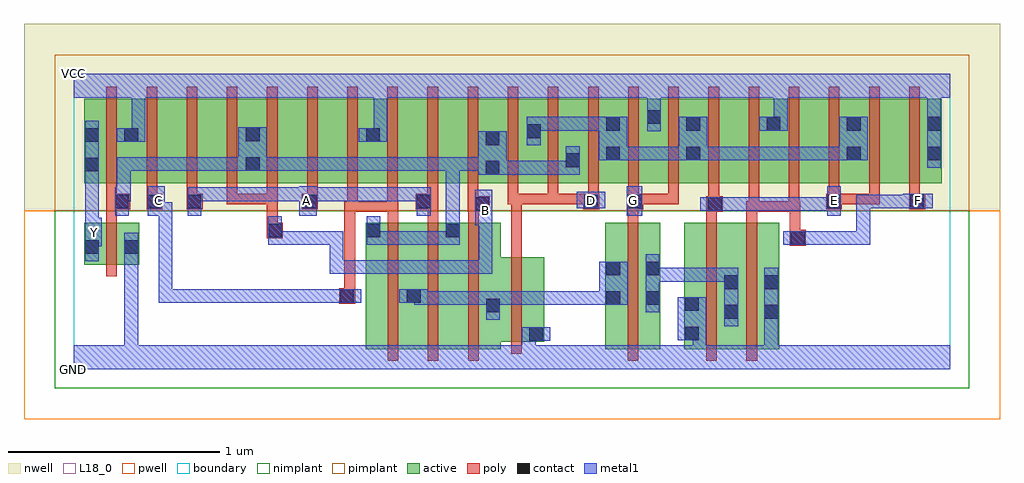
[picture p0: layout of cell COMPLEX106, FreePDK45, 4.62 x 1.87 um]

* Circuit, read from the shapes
.subckt COMPLEX106 A B C D E F G GND VCC Y
M1 GND n1 Y VSUBS nfet w=0.2u l=0.05u
M2 n2 C n1 VSUBS nfet w=0.6u l=0.05u
M3 n1 A n2 VSUBS nfet w=0.6u l=0.05u
M4 n2 B n1 VSUBS nfet w=0.6u l=0.05u
M5 GND D n2 VSUBS nfet w=0.4u l=0.05u
M6 n3 G n2 VSUBS nfet w=0.6u l=0.05u
M7 n3 E GND VSUBS nfet w=0.6u l=0.05u
M8 GND F n3 VSUBS nfet w=0.6u l=0.05u
M9 VCC n1 Y n4 pfet w=0.4u l=0.05u
M10 n5 C VCC n4 pfet w=0.4u l=0.05u
M11 n6 A n5 n4 pfet w=0.4u l=0.05u
M12 n1 B n6 n4 pfet w=0.4u l=0.05u
M13 n7 B n1 n4 pfet w=0.4u l=0.05u
M14 n8 A n7 n4 pfet w=0.4u l=0.05u
M15 VCC C n8 n4 pfet w=0.4u l=0.05u
M16 n9 C VCC n4 pfet w=0.4u l=0.05u
M17 n10 A n9 n4 pfet w=0.4u l=0.05u
M18 n1 B n10 n4 pfet w=0.4u l=0.05u
M19 n11 D n1 n4 pfet w=0.4u l=0.05u m=3
M20 VCC G n11 n4 pfet w=0.4u l=0.05u m=2
M21 n12 E n11 n4 pfet w=0.4u l=0.05u
M22 VCC F n12 n4 pfet w=0.4u l=0.05u
M23 n13 F VCC n4 pfet w=0.4u l=0.05u
M24 n11 E n13 n4 pfet w=0.4u l=0.05u
M25 n14 E n11 n4 pfet w=0.4u l=0.05u
M26 VCC F n14 n4 pfet w=0.4u l=0.05u
.ends

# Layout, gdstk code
import gdstk
lib = gdstk.Library(unit=1e-6, precision=1e-09)
def R(c, l, rs):  # rectangles x0, y0, x1, y1
    for r in rs: c.add(gdstk.rectangle(r[:2], r[2:], *l))
def A(c, l, x, y, w, h, nx, ny, dx, dy):  # array of equal rectangles
    R(c, l, [(x+i*dx, y+j*dy, x+i*dx+w, y+j*dy+h) for i in range(nx) for j in range(ny)])
active = (1, 0)
pwell = (2, 0)
nwell = (3, 0)
nimplant = (4, 0)
pimplant = (5, 0)
poly = (9, 0)
contact = (10, 0)
metal1 = (11, 0)
L18_0 = (18, 0)
boundary = (235, 0)

complex106 = lib.new_cell('COMPLEX106')
A(complex106, active, 0.465, 0.882, 0.19, 0.4, 3, 1, 0.57, 0)
A(complex106, active, 2.895, 0.882, 0.23, 0.4, 3, 1, 0.38, 0)
A(complex106, active, 3.125, 0.882, 0.225, 0.4, 3, 1, 0.38, 0)
R(complex106, active, [(1.382,0.095,1.457,0.695), (1.382,0.095,1.647,0.695), (1.572,0.095,1.832,0.695), (1.572,0.095,1.647,0.657), (1.757,0.095,1.832,0.695), (1.757,0.095,2.022,0.695), (2.517,0.095,2.592,0.695), (2.517,0.095,2.777,0.695), (2.702,0.095,2.777,0.695), (2.89,0.095,2.965,0.695), (2.89,0.095,3.15,0.695), (3.075,0.095,3.34,0.695), (3.075,0.095,3.15,0.692), (3.265,0.095,3.34,0.695), (1.947,0.13,2.227,0.53), (2.152,0.13,2.227,0.53), (1.947,0.2,2.022,0.53), (0.05,0.495,0.125,0.695), (0.05,0.495,0.31,0.695), (0.235,0.495,0.31,0.695), (0.05,0.882,0.125,1.2), (0.05,0.882,0.31,1.282), (0.235,0.882,0.31,1.282), (0.235,0.882,0.465,1.282), (0.655,0.882,0.885,1.282), (0.81,0.882,1.035,1.282), (0.81,0.882,0.885,1.2), (1.225,0.882,1.455,1.282), (1.38,0.882,1.455,1.282), (1.38,0.882,1.605,1.282), (1.795,0.882,2.02,1.282), (1.945,0.882,2.02,1.2), (1.945,0.882,2.215,1.282), (2.14,0.882,2.215,1.2), (2.14,0.882,2.4,1.282), (2.325,0.882,2.59,1.282), (2.325,0.882,2.4,1.07), (2.515,0.882,2.59,1.2), (2.515,0.882,2.785,1.282), (2.71,0.882,2.97,1.282), (2.895,0.882,2.97,1.2), (3.275,0.882,3.35,1.282), (3.655,0.882,3.73,1.2), (4.035,0.882,4.11,1.282), (2.71,0.907,2.785,1.282)])
R(complex106, pwell, [(-0.235,-0.235,4.385,0.75)])
R(complex106, nwell, [(-0.235,0.75,4.385,1.635)])
R(complex106, nimplant, [(-0.09,-0.09,4.24,0.75)])
R(complex106, pimplant, [(-0.09,0.75,4.24,1.49)])
A(complex106, poly, 1.487, 0.04, 0.05, 0.71, 3, 1, 0.19, 0)
A(complex106, poly, 0.155, 0.782, 0.05, 0.095, 6, 1, 0.19, 0)
A(complex106, poly, 2.055, 0.782, 0.05, 0.095, 5, 1, 0.19, 0)
A(complex106, poly, 3.575, 0.782, 0.05, 0.095, 3, 1, 0.19, 0)
A(complex106, poly, 0.155, 0.827, 0.05, 0.51, 21, 1, 0.19, 0)
R(complex106, poly, [(2.622,0.04,2.672,0.75), (2.995,0.04,3.045,0.75), (3.185,0.04,3.235,0.75), (2.072,0.075,2.122,0.585), (1.257,0.31,1.332,0.385), (1.282,0.335,1.332,0.795), (0.155,0.44,0.205,0.75), (2.072,0.535,2.122,0.832), (3.39,0.585,3.465,0.66), (3.39,0.61,3.44,0.66), (3.39,0.61,3.44,0.66), (3.39,0.61,3.44,0.795), (0.915,0.62,0.99,0.695), (0.915,0.645,0.965,0.832), (0.155,0.7,0.205,0.807), (1.487,0.7,1.537,0.795), (1.677,0.7,1.727,0.807), (1.867,0.7,1.917,0.795), (2.622,0.7,2.672,0.807), (2.995,0.7,3.045,0.795), (3.185,0.7,3.235,0.795), (1.282,0.745,1.332,0.795), (1.282,0.745,1.332,0.795), (1.282,0.745,1.332,0.795), (1.282,0.745,1.332,0.795), (1.282,0.745,1.345,0.795), (1.295,0.745,1.345,0.795), (1.295,0.745,1.345,0.795), (1.295,0.745,1.345,0.877), (1.295,0.745,1.535,0.795), (1.485,0.745,1.535,0.877), (1.485,0.745,1.537,0.795), (1.865,0.745,1.97,0.82), (2.995,0.745,3.072,0.82), (3.185,0.745,3.245,0.795), (3.195,0.745,3.245,0.877), (3.195,0.745,3.435,0.795), (3.385,0.745,3.435,0.795), (3.385,0.745,3.435,0.795), (3.385,0.745,3.435,0.877), (3.385,0.745,3.44,0.795), (0.155,0.757,0.267,0.832), (0.345,0.757,0.42,0.832), (0.535,0.757,0.61,0.832), (1.08,0.757,1.155,0.832), (1.62,0.757,1.727,0.832), (2.412,0.757,2.487,0.832), (2.622,0.757,2.697,0.832), (3.562,0.757,3.637,0.832), (3.955,0.757,4.03,0.832), (1.865,0.77,1.915,0.877), (3.005,0.77,3.055,0.877), (0.725,0.782,0.775,0.832), (0.725,0.782,0.965,0.832), (0.915,0.782,0.965,0.832), (0.915,0.782,0.965,0.832), (0.915,0.782,0.965,0.832), (0.915,0.782,0.965,0.832), (0.915,0.782,0.965,0.832), (1.675,0.782,1.725,0.877), (2.055,0.782,2.122,0.832), (2.072,0.782,2.122,0.832), (2.072,0.782,2.122,0.832), (2.072,0.782,2.295,0.832), (2.245,0.782,2.295,0.832), (2.245,0.782,2.462,0.832), (2.412,0.782,2.462,0.832), (2.412,0.782,2.462,0.832), (2.647,0.782,2.865,0.832), (2.815,0.782,2.865,0.832), (2.815,0.782,2.865,0.832), (2.815,0.782,2.865,0.832), (3.587,0.782,3.815,0.832), (3.587,0.782,3.637,0.832), (3.587,0.782,3.637,0.832), (3.765,0.782,3.815,0.832)])
A(complex106, contact, 2.52, 1.13, 0.065, 0.065, 5, 1, 0.38, 0)
R(complex106, contact, [(2.157,0.135,2.222,0.2), (2.895,0.137,2.96,0.202), (3.08,0.24,3.145,0.305), (3.27,0.24,3.335,0.305), (1.952,0.27,2.017,0.335), (2.895,0.277,2.96,0.342), (2.522,0.305,2.587,0.37), (2.707,0.305,2.772,0.37), (1.262,0.315,1.327,0.38), (1.577,0.315,1.642,0.38), (3.08,0.38,3.145,0.445), (3.27,0.38,3.335,0.445), (2.522,0.445,2.587,0.51), (2.707,0.445,2.772,0.51), (0.055,0.547,0.12,0.612), (0.24,0.547,0.305,0.612), (3.395,0.59,3.46,0.655), (0.92,0.625,0.985,0.69), (1.387,0.625,1.452,0.69), (1.762,0.625,1.827,0.69), (1.9,0.75,1.965,0.815), (3.002,0.75,3.067,0.815), (0.197,0.762,0.262,0.827), (0.35,0.762,0.415,0.827), (0.54,0.762,0.605,0.827), (1.085,0.762,1.15,0.827), (1.625,0.762,1.69,0.827), (2.417,0.762,2.482,0.827), (2.627,0.762,2.692,0.827), (3.567,0.762,3.632,0.827), (3.96,0.762,4.025,0.827), (1.95,0.922,2.015,0.987), (0.055,0.937,0.12,1.002), (0.815,0.94,0.88,1.005), (2.33,0.957,2.395,1.022), (2.52,0.99,2.585,1.055), (2.9,0.99,2.965,1.055), (3.66,0.99,3.725,1.055), (4.04,0.99,4.105,1.055), (1.95,1.062,2.015,1.127), (0.055,1.077,0.12,1.142), (0.24,1.077,0.305,1.142), (1.385,1.077,1.45,1.142), (0.815,1.08,0.88,1.145), (2.145,1.095,2.21,1.16), (2.715,1.162,2.78,1.227)])
R(complex106, metal1, [(0,0,4.15,0.115), (0.24,0.05,0.305,0.115), (0.24,0.05,0.305,0.115), (0.24,0.05,0.305,0.577), (2.122,0.05,2.187,0.115), (2.122,0.05,2.187,0.115), (2.122,0.05,2.187,0.2), (2.93,0.05,2.995,0.202), (3.27,0.05,3.335,0.27), (2.122,0.135,2.257,0.2), (2.86,0.137,2.995,0.342), (3.08,0.205,3.145,0.48), (3.27,0.205,3.335,0.48), (1.952,0.235,2.017,0.37), (2.707,0.27,2.772,0.545), (1.612,0.305,1.827,0.37), (1.612,0.305,1.677,0.38), (1.762,0.305,1.827,0.37), (1.762,0.305,1.827,0.37), (1.762,0.305,1.827,0.37), (1.762,0.305,2.017,0.37), (1.952,0.305,2.12,0.37), (2.055,0.305,2.12,0.37), (2.055,0.305,2.257,0.37), (2.192,0.305,2.257,0.37), (2.192,0.305,2.257,0.37), (2.192,0.305,2.257,0.37), (2.192,0.305,2.257,0.37), (2.192,0.305,2.257,0.37), (2.192,0.305,2.257,0.37), (2.192,0.305,2.257,0.37), (2.192,0.305,2.412,0.37), (2.347,0.305,2.412,0.37), (2.347,0.305,2.412,0.37), (2.347,0.305,2.412,0.37), (2.347,0.305,2.552,0.37), (2.487,0.305,2.622,0.51), (0.402,0.315,0.467,0.38), (0.402,0.315,0.707,0.38), (0.402,0.315,0.467,0.792), (0.642,0.315,0.707,0.38), (0.642,0.315,0.707,0.38), (0.642,0.315,0.707,0.38), (0.642,0.315,0.845,0.38), (0.78,0.315,0.845,0.38), (0.78,0.315,0.845,0.38), (0.78,0.315,0.845,0.38), (0.78,0.315,0.845,0.38), (0.78,0.315,0.845,0.38), (0.78,0.315,0.845,0.38), (0.78,0.315,0.845,0.38), (0.78,0.315,0.982,0.38), (0.917,0.315,0.982,0.38), (0.917,0.315,1.132,0.38), (1.067,0.315,1.132,0.38), (1.067,0.315,1.132,0.38), (1.067,0.315,1.132,0.38), (1.067,0.315,1.27,0.38), (1.205,0.315,1.27,0.38), (1.205,0.315,1.292,0.38), (1.227,0.315,1.362,0.38), (1.542,0.315,1.677,0.38), (1.612,0.315,1.677,0.38), (2.707,0.415,2.895,0.48), (2.83,0.415,2.895,0.48), (2.83,0.415,3,0.48), (2.935,0.415,3,0.48), (2.935,0.415,3.145,0.48), (3.08,0.415,3.145,0.48), (3.08,0.415,3.145,0.48), (1.212,0.452,1.287,0.517), (1.212,0.452,1.277,0.655), (1.222,0.452,1.287,0.517), (1.222,0.452,1.47,0.517), (1.405,0.452,1.47,0.517), (1.405,0.452,1.47,0.517), (1.405,0.452,1.47,0.517), (1.405,0.452,1.69,0.517), (1.625,0.452,1.69,0.517), (1.625,0.452,1.69,0.517), (1.625,0.452,1.69,0.517), (1.625,0.452,1.827,0.517), (1.762,0.452,1.827,0.517), (1.762,0.452,1.927,0.517), (1.862,0.452,1.982,0.517), (1.862,0.452,1.927,0.517), (1.917,0.452,1.982,0.517), (1.917,0.452,1.982,0.517), (1.917,0.452,1.982,0.517), (1.917,0.452,1.982,0.747), (0.055,0.512,0.12,0.647), (0.24,0.512,0.305,0.577), (0.24,0.512,0.305,0.577), (0.24,0.512,0.305,0.577), (0.24,0.512,0.305,0.577), (0.24,0.512,0.305,0.647), (0.055,0.582,0.12,0.647), (0.055,0.582,0.132,0.717), (0.92,0.59,1.122,0.655), (0.92,0.59,0.985,0.725), (1.057,0.59,1.122,0.655), (1.057,0.59,1.122,0.655), (1.057,0.59,1.122,0.655), (1.057,0.59,1.277,0.655), (1.387,0.59,1.452,0.655), (1.387,0.59,1.452,0.655), (1.387,0.59,1.452,0.725), (1.387,0.59,1.69,0.655), (1.625,0.59,1.69,0.655), (1.625,0.59,1.69,0.655), (1.625,0.59,1.69,0.655), (1.625,0.59,1.827,0.655), (1.762,0.59,1.827,0.725), (3.36,0.59,3.495,0.655), (3.43,0.59,3.495,0.655), (3.43,0.59,3.495,0.655), (3.43,0.59,3.495,0.655), (3.43,0.59,3.495,0.655), (3.43,0.59,3.715,0.655), (3.65,0.59,3.77,0.655), (3.65,0.59,3.715,0.655), (3.705,0.59,3.77,0.655), (3.705,0.59,3.77,0.827), (0.055,0.652,0.12,0.967), (1.762,0.66,1.827,1.005), (1.9,0.682,1.982,0.85), (1.917,0.682,1.982,0.747), (1.917,0.682,1.982,0.747), (0.197,0.727,0.262,0.862), (0.35,0.727,0.432,0.867), (0.367,0.727,0.467,0.792), (0.402,0.727,0.467,0.792), (0.54,0.727,0.605,0.862), (1.067,0.727,1.15,0.867), (1.625,0.727,1.69,0.862), (2.617,0.727,2.692,0.867), (3.567,0.727,3.632,0.867), (2.967,0.75,3.102,0.815), (3.037,0.75,3.145,0.815), (3.08,0.75,3.145,0.815), (3.08,0.75,3.282,0.815), (3.217,0.75,3.282,0.815), (3.217,0.75,3.282,0.815), (3.217,0.75,3.282,0.815), (3.217,0.75,3.495,0.815), (3.43,0.75,3.495,0.815), (3.43,0.75,3.495,0.815), (3.43,0.75,3.495,0.815), (3.43,0.75,3.632,0.815), (2.382,0.762,2.517,0.84), (3.705,0.762,3.77,0.827), (3.705,0.762,3.852,0.827), (3.787,0.762,3.907,0.827), (3.787,0.762,3.852,0.827), (3.842,0.762,3.99,0.827), (3.842,0.762,3.907,0.827), (3.925,0.762,4.067,0.832), (0.197,0.797,0.27,0.862), (0.205,0.797,0.27,0.862), (0.205,0.797,0.27,1.005), (0.54,0.797,0.707,0.862), (0.642,0.797,0.707,0.862), (0.642,0.797,0.845,0.862), (0.78,0.797,0.845,0.862), (0.78,0.797,0.845,0.862), (0.78,0.797,0.845,0.862), (0.78,0.797,0.982,0.862), (0.917,0.797,0.982,0.862), (0.917,0.797,1.132,0.862), (1.067,0.797,1.132,0.862), (1.067,0.797,1.132,0.862), (1.085,0.797,1.27,0.862), (1.205,0.797,1.27,0.862), (1.205,0.797,1.315,0.862), (1.25,0.797,1.315,0.862), (1.25,0.797,1.452,0.862), (1.387,0.797,1.452,0.862), (1.387,0.797,1.452,0.862), (1.387,0.797,1.452,0.862), (1.387,0.797,1.69,0.862), (1.625,0.797,1.69,0.862), (1.625,0.797,1.69,0.862), (0.055,0.902,0.12,1.177), (1.915,0.922,2.05,1.127), (1.985,0.922,2.12,0.987), (2.055,0.922,2.12,0.987), (2.055,0.922,2.257,0.987), (2.192,0.922,2.257,0.987), (2.192,0.922,2.257,0.987), (2.192,0.922,2.257,0.987), (2.192,0.922,2.395,0.987), (2.33,0.922,2.395,1.057), (0.205,0.94,0.27,1.005), (0.205,0.94,0.432,1.005), (0.367,0.94,0.432,1.005), (0.367,0.94,0.57,1.005), (0.505,0.94,0.57,1.005), (0.505,0.94,0.57,1.005), (0.505,0.94,0.57,1.005), (0.505,0.94,0.707,1.005), (0.642,0.94,0.707,1.005), (0.642,0.94,0.845,1.005), (0.78,0.94,0.845,1.005), (0.78,0.94,0.845,1.005), (0.78,0.94,0.915,1.145), (0.85,0.94,0.982,1.005), (0.917,0.94,0.982,1.005), (0.917,0.94,1.122,1.005), (1.057,0.94,1.122,1.005), (1.057,0.94,1.122,1.005), (1.057,0.94,1.122,1.005), (1.057,0.94,1.27,1.005), (1.205,0.94,1.27,1.005), (1.205,0.94,1.315,1.005), (1.25,0.94,1.315,1.005), (1.25,0.94,1.452,1.005), (1.387,0.94,1.452,1.005), (1.387,0.94,1.452,1.005), (1.387,0.94,1.452,1.005), (1.387,0.94,1.69,1.005), (1.625,0.94,1.69,1.005), (1.625,0.94,1.69,1.005), (1.625,0.94,1.69,1.005), (1.625,0.94,1.827,1.005), (1.762,0.94,1.827,1.005), (1.762,0.94,1.827,1.005), (1.762,0.94,1.827,1.005), (1.762,0.94,1.98,1.005), (1.915,0.94,1.98,1.005), (1.915,0.94,1.98,1.005), (4.04,0.955,4.105,1.23), (2.485,0.99,2.62,1.195), (2.555,0.99,2.62,1.055), (2.555,0.99,2.62,1.055), (2.555,0.99,2.757,1.055), (2.692,0.99,2.757,1.055), (2.692,0.99,2.757,1.055), (2.692,0.99,2.757,1.055), (2.692,0.99,2.895,1.055), (2.83,0.99,2.895,1.055), (2.83,0.99,2.93,1.055), (2.865,0.99,3,1.195), (2.935,0.99,3.137,1.055), (3.072,0.99,3.137,1.055), (3.072,0.99,3.137,1.055), (3.072,0.99,3.137,1.055), (3.072,0.99,3.282,1.055), (3.217,0.99,3.282,1.055), (3.217,0.99,3.282,1.055), (3.217,0.99,3.282,1.055), (3.217,0.99,3.42,1.055), (3.355,0.99,3.42,1.055), (3.355,0.99,3.42,1.055), (3.355,0.99,3.42,1.055), (3.355,0.99,3.69,1.055), (3.625,0.99,3.69,1.055), (3.625,0.99,3.69,1.055), (3.625,0.99,3.76,1.195), (2.145,1.06,2.21,1.195), (0.205,1.077,0.34,1.142), (0.275,1.077,0.34,1.35), (1.35,1.077,1.485,1.142), (1.42,1.077,1.485,1.35), (2.715,1.127,2.78,1.262), (2.145,1.13,2.257,1.195), (2.192,1.13,2.257,1.195), (2.192,1.13,2.395,1.195), (2.33,1.13,2.395,1.195), (2.33,1.13,2.395,1.195), (2.33,1.13,2.395,1.195), (2.33,1.13,2.55,1.195), (3.245,1.13,3.38,1.195), (3.315,1.13,3.38,1.35), (4.04,1.165,4.105,1.35), (2.715,1.197,2.78,1.35), (0,1.285,4.15,1.4)])
R(complex106, L18_0, [(0,0,4.15,0.115), (0.24,0.05,0.305,0.115), (0.24,0.05,0.305,0.115), (0.24,0.05,0.305,0.577), (2.122,0.05,2.187,0.115), (2.122,0.05,2.187,0.115), (2.122,0.05,2.187,0.2), (2.93,0.05,2.995,0.202), (3.27,0.05,3.335,0.27), (2.122,0.135,2.257,0.2), (2.86,0.137,2.995,0.342), (3.27,0.205,3.335,0.48), (0.402,0.315,0.467,0.38), (0.402,0.315,0.467,0.792), (0.402,0.315,0.707,0.38), (0.642,0.315,0.707,0.38), (0.642,0.315,0.707,0.38), (0.642,0.315,0.707,0.38), (0.642,0.315,0.845,0.38), (0.78,0.315,0.845,0.38), (0.78,0.315,0.845,0.38), (0.78,0.315,0.845,0.38), (0.78,0.315,0.845,0.38), (0.78,0.315,0.845,0.38), (0.78,0.315,0.845,0.38), (0.78,0.315,0.845,0.38), (0.78,0.315,0.982,0.38), (0.917,0.315,0.982,0.38), (0.917,0.315,1.132,0.38), (1.067,0.315,1.132,0.38), (1.067,0.315,1.132,0.38), (1.067,0.315,1.132,0.38), (1.067,0.315,1.27,0.38), (1.205,0.315,1.27,0.38), (1.205,0.315,1.292,0.38), (1.227,0.315,1.362,0.38), (1.212,0.452,1.277,0.655), (1.212,0.452,1.287,0.517), (1.222,0.452,1.287,0.517), (1.222,0.452,1.47,0.517), (1.405,0.452,1.47,0.517), (1.405,0.452,1.47,0.517), (1.405,0.452,1.47,0.517), (1.405,0.452,1.69,0.517), (1.625,0.452,1.69,0.517), (1.625,0.452,1.69,0.517), (1.625,0.452,1.69,0.517), (1.625,0.452,1.827,0.517), (1.762,0.452,1.827,0.517), (1.762,0.452,1.927,0.517), (1.862,0.452,1.927,0.517), (1.862,0.452,1.982,0.517), (1.917,0.452,1.982,0.517), (1.917,0.452,1.982,0.517), (1.917,0.452,1.982,0.517), (1.917,0.452,1.982,0.747), (0.055,0.512,0.12,0.647), (0.24,0.512,0.305,0.647), (0.24,0.512,0.305,0.577), (0.24,0.512,0.305,0.577), (0.24,0.512,0.305,0.577), (0.24,0.512,0.305,0.577), (0.055,0.582,0.132,0.717), (0.055,0.582,0.12,0.647), (0.92,0.59,0.985,0.725), (0.92,0.59,1.122,0.655), (1.057,0.59,1.122,0.655), (1.057,0.59,1.122,0.655), (1.057,0.59,1.122,0.655), (1.057,0.59,1.277,0.655), (3.36,0.59,3.495,0.655), (3.43,0.59,3.495,0.655), (3.43,0.59,3.495,0.655), (3.43,0.59,3.495,0.655), (3.43,0.59,3.495,0.655), (3.43,0.59,3.715,0.655), (3.65,0.59,3.715,0.655), (3.65,0.59,3.77,0.655), (3.705,0.59,3.77,0.655), (3.705,0.59,3.77,0.827), (0.067,0.617,0.132,0.682), (0.055,0.652,0.12,0.967), (1.9,0.682,1.982,0.85), (1.917,0.682,1.982,0.747), (1.917,0.682,1.982,0.747), (1.917,0.717,1.982,0.782), (0.35,0.727,0.432,0.867), (0.367,0.727,0.467,0.792), (0.402,0.727,0.467,0.792), (0.54,0.727,0.605,0.862), (1.067,0.727,1.15,0.867), (1.625,0.727,1.69,0.862), (2.617,0.727,2.692,0.867), (3.567,0.727,3.632,0.867), (2.967,0.75,3.102,0.815), (3.037,0.75,3.145,0.815), (3.08,0.75,3.145,0.815), (3.08,0.75,3.282,0.815), (3.217,0.75,3.282,0.815), (3.217,0.75,3.282,0.815), (3.217,0.75,3.282,0.815), (3.217,0.75,3.495,0.815), (3.43,0.75,3.495,0.815), (3.43,0.75,3.495,0.815), (3.43,0.75,3.495,0.815), (3.43,0.75,3.632,0.815), (2.382,0.762,2.517,0.84), (3.705,0.762,3.77,0.827), (3.705,0.762,3.852,0.827), (3.787,0.762,3.852,0.827), (3.787,0.762,3.907,0.827), (3.842,0.762,3.907,0.827), (3.842,0.762,3.99,0.827), (3.925,0.762,4.067,0.832), (0.367,0.767,0.432,0.832), (1.067,0.767,1.132,0.832), (2.417,0.767,2.482,0.832), (2.617,0.767,2.682,0.832), (3.567,0.767,3.632,0.832), (3.967,0.767,4.032,0.832), (0.54,0.797,0.707,0.862), (0.642,0.797,0.707,0.862), (0.642,0.797,0.845,0.862), (0.78,0.797,0.845,0.862), (0.78,0.797,0.845,0.862), (0.78,0.797,0.845,0.862), (0.78,0.797,0.982,0.862), (0.917,0.797,0.982,0.862), (0.917,0.797,1.132,0.862), (1.067,0.797,1.132,0.862), (1.067,0.797,1.132,0.862), (1.085,0.797,1.27,0.862), (1.205,0.797,1.27,0.862), (1.205,0.797,1.315,0.862), (1.25,0.797,1.315,0.862), (1.25,0.797,1.452,0.862), (1.387,0.797,1.452,0.862), (1.387,0.797,1.452,0.862), (1.387,0.797,1.452,0.862), (1.387,0.797,1.69,0.862), (1.625,0.797,1.69,0.862), (1.625,0.797,1.69,0.862), (0.055,0.902,0.12,1.177), (4.04,0.955,4.105,1.23), (0.205,1.077,0.34,1.142), (0.275,1.077,0.34,1.35), (1.35,1.077,1.485,1.142), (1.42,1.077,1.485,1.35), (2.715,1.127,2.78,1.262), (3.245,1.13,3.38,1.195), (3.315,1.13,3.38,1.35), (4.04,1.165,4.105,1.35), (2.715,1.197,2.78,1.35), (0,1.285,4.15,1.4)])
R(complex106, boundary, [(0,0,4.15,1.4)])
complex106.add(gdstk.Label('A', (1.1,0.8), layer=11, texttype=0))
complex106.add(gdstk.Label('B', (1.95,0.75), layer=11, texttype=0))
complex106.add(gdstk.Label('C', (0.4,0.8), layer=11, texttype=0))
complex106.add(gdstk.Label('D', (2.45,0.8), layer=11, texttype=0))
complex106.add(gdstk.Label('E', (3.6,0.8), layer=11, texttype=0))
complex106.add(gdstk.Label('F', (4,0.8), layer=11, texttype=0))
complex106.add(gdstk.Label('G', (2.65,0.8), layer=11, texttype=0))
complex106.add(gdstk.Label('Y', (0.1,0.65), layer=11, texttype=0))
complex106.add(gdstk.Label('VCC', (0,1.4), layer=11, texttype=0))
complex106.add(gdstk.Label('GND', (0,0), layer=11, texttype=0))

lib.write_gds('COMPLEX106.gds')
